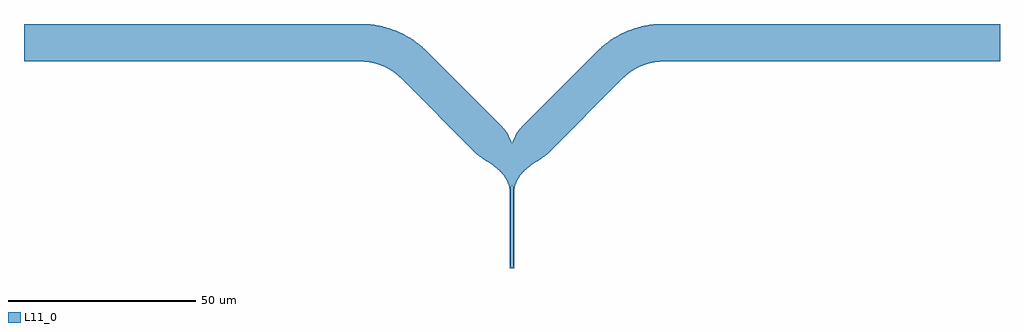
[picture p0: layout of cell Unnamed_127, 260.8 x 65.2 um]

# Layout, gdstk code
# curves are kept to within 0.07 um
from math import pi, radians
import gdstk
lib = gdstk.Library(unit=1e-6, precision=1e-09)
def P(c, l, *ps):  # polygons
    for p in ps: c.add(gdstk.Polygon(p, *l))
L11_0 = (11, 0)

unnamed_130 = lib.new_cell('Unnamed_130')
P(unnamed_130, L11_0, [(14.001,-5.999),(13.019,-5.187),(11.659,-4.463),(10.419,-4.076),(8.864,-3.856),(6.279,-3.971),(1.966,-4.816),(0,-5),(0,5),(1.603,4.869),(3.476,4.379),(5.241,3.562),(6.859,2.481),(8.311,1.215),(10.002,-0.617),(12.693,-3.962),(14.284,-5.716)])

unnamed_131 = lib.new_cell('Unnamed_131')
P(unnamed_131, L11_0, [(0,-0.2),(0,0.2),(19.8,0.2),(19.8,0.4),(20.2,0.4),(20.2,-0.2)])

unnamed_129 = lib.new_cell('Unnamed_129')
P(unnamed_129, L11_0, [(120.607,-29.393),(100.046,-8.862),(98.848,-7.888),(97.388,-6.946),(95.829,-6.179),(94.192,-5.598),(92.117,-5.15),(90.193,-5.001),(0,-5),(0,5),(90.322,4.998),(93.529,4.75),(96.987,4.004),(99.716,3.035),(102.033,1.914),(104.222,0.561),(106.261,-1.011),(127.678,-22.322)])

unnamed_128 = lib.new_cell('Unnamed_128')
unnamed_128.add(gdstk.Reference(unnamed_130, (124.142,-25.858), rotation=radians(315)))
unnamed_128.add(gdstk.Reference(unnamed_131, (130,-40), rotation=3*pi/2))
unnamed_128.add(gdstk.Reference(unnamed_129, (0,0)))

unnamed_127 = lib.new_cell('Unnamed_127')
unnamed_127.add(gdstk.Reference(unnamed_128, (260.8,0), rotation=pi, x_reflection=True))
unnamed_127.add(gdstk.Reference(unnamed_128, (0,0)))

lib.write_gds('Unnamed_127.gds')
